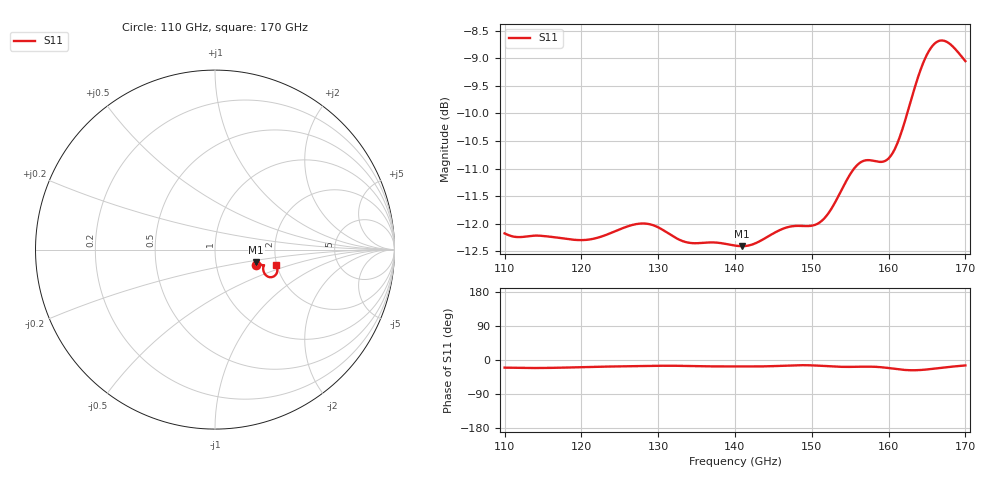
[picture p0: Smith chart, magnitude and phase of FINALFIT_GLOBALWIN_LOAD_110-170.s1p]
! Generated by Phase I extraction
# Hz S RI R 50
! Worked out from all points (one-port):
!   1471 points, 110 GHz to 170 GHz, reference 50 ohm
!   lowest |S11| = -12.4 dB at 140.9 GHz (marker M1), VSWR 1.63, Z = 78.7 - j11.7 ohm
!   |S11| at or under -10 dB: start of sweep to 162.4 GHz
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1.1e11  0.2311 -0.085
1.138776e11  0.2285 -0.0885
1.175102e11  0.2287 -0.0842
1.211429e11  0.231 -0.0758
1.250204e11  0.2375 -0.0724
1.286531e11  0.2418 -0.0678
1.325306e11  0.2348 -0.0642
1.342041e11  0.2321 -0.0661
1.4e11  0.2295 -0.0702
1.40898e11  0.2292 -0.0703
1.441633e11  0.2341 -0.0699
1.475102e11  0.2424 -0.061
1.494694e11  0.2428 -0.0597
1.513469e11  0.2437 -0.0677
1.526122e11  0.2482 -0.0761
1.550204e11  0.2648 -0.0869
1.564898e11  0.2724 -0.0868
1.581633e11  0.2725 -0.088
1.59102e11  0.27 -0.0938
1.600816e11  0.2684 -0.1053
1.611837e11  0.2711 -0.1227
1.625306e11  0.284 -0.1432
1.634286e11  0.2977 -0.1517
1.642449e11  0.3117 -0.1539
1.651429e11  0.3263 -0.1498
1.660408e11  0.3379 -0.1406
1.676735e11  0.3473 -0.1181
1.7e11  0.3417 -0.0872
